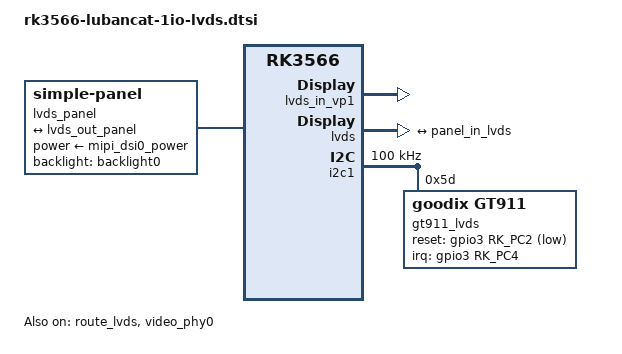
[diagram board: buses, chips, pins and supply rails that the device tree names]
// SPDX-License-Identifier: (GPL-2.0+ OR MIT)
/*
 * Copyright (c) 2020 Rockchip Electronics Co., Ltd.
 *
 */

#include <dt-bindings/display/media-bus-format.h>

/ {
	lvds_panel {
		compatible = "simple-panel";
		backlight = <&backlight0>;
		power-supply = <&mipi_dsi0_power>;
		
		enable-delay-ms = <20>;
		prepare-delay-ms = <20>;
		unprepare-delay-ms = <20>;
		disable-delay-ms = <20>;

		bus-format = <MEDIA_BUS_FMT_RGB888_1X24>;
		
		width-mm = <217>;
		height-mm = <136>;

		display-timings {
			native-mode = <&timing0>;

			timing0: timing0 {
				clock-frequency = <72000000>;
				hactive = <800>;
				vactive = <1280>;
				hsync-len = <24>;
				hback-porch = <24>;
				hfront-porch = <72>;
				vsync-len = <2>;
				vback-porch = <10>;
				vfront-porch = <12>;
				hsync-active = <0>;
				vsync-active = <0>;
				de-active = <0>;
				pixelclk-active = <0>;
			};
		};

		ports {
			#address-cells = <1>;
			#size-cells = <0>;

			port@0 {
				reg = <0>;
				dual-lvds-even-pixels;
				panel_in_lvds: endpoint {
					remote-endpoint = <&lvds_out_panel>;
				};
			};
		};
	};
};

&lvds_in_vp1 {
	status = "okay";
};

&lvds_in_vp2 {
	status = "disabled";
};

&route_lvds {
	status = "okay";
	connect = <&vp1_out_lvds>;
};

&vp0 {
	/delete-property/ rockchip,plane-mask; 
	/delete-property/ rockchip,primary-plane; 
};

&vp1 {
	/delete-property/ rockchip,plane-mask; 
	/delete-property/ rockchip,primary-plane; 
};

&video_phy0 {
	status = "okay";
};

&lvds {
	status = "okay";

	ports {
		port@1 {
			reg = <1>;

			lvds_out_panel: endpoint {
				remote-endpoint = <&panel_in_lvds>;
			};
		};
	};
};

&i2c1 {
	status = "okay";
	clock-frequency = <100000>;

	gt911_lvds: gt911-lvds@5d {
		status = "okay";
		compatible = "goodix,gt911";
		reg = <0x5d>;
		interrupt-parent = <&gpio3>;
		interrupts = <RK_PC4 IRQ_TYPE_LEVEL_LOW>;
		reset-gpios = <&gpio3 RK_PC2 GPIO_ACTIVE_LOW>;
		irq-gpios = <&gpio3 RK_PC4 GPIO_ACTIVE_HIGH>;
	};
};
